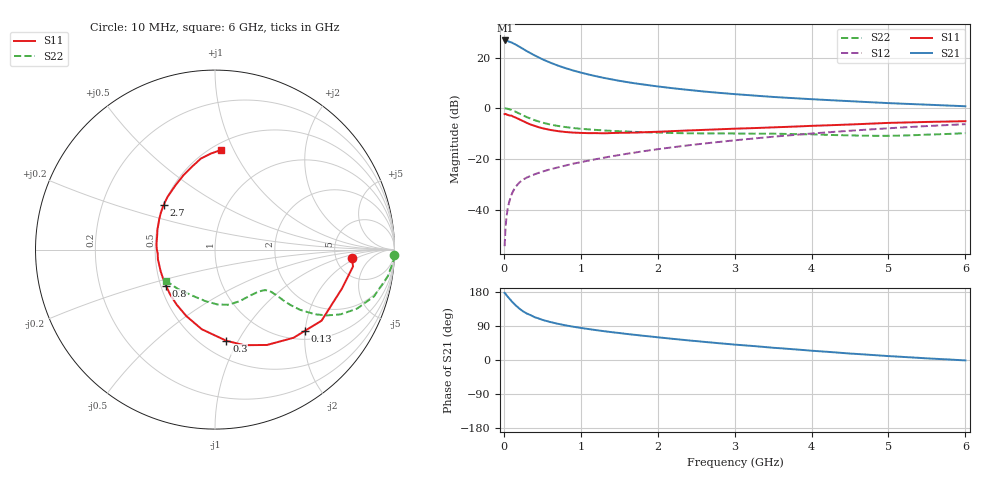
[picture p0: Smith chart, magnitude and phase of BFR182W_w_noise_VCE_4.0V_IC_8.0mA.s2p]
! Infineon Technologies  Discrete & RF Semiconductors
! BFR182W
! VCE =  4.0 V,  IC =  8.0 mA
! Common Emitter S-Parameters:  Jan 2017
# GHz  S  MA  R  50
!  f  S11  S21  S12  S22
! GHz  MAG  ANG  MAG  ANG  MAG  ANG  MAG  ANG
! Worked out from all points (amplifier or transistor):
!   77 points, 10 MHz to 6 GHz, reference 50 ohm
!   highest |S21| = 26.7 dB at 20 MHz (marker M1)
!   |S21| within 3 dB of that: start of sweep to 231.8 MHz
!   unconditionally stable (mu >= 1): 1.171 GHz to 2.727 GHz
!   at 130 MHz: K = 0.24, MSG = 28.8 dB, |S12| = -32.2 dB
!   at 2.2 GHz: K = 1.03, MAG = 10.5 dB, |S12| = -15.4 dB
!   at 6 GHz: K = 0.86, MSG = 3.5 dB, |S12| = -6.3 dB
!   lowest NFmin = 1.00 dB at 450 MHz
!   S11 on the Smith chart (normalised r, x): 10 MHz: 7.14, -1.66; 130 MHz: 1.20, -1.99; 300 MHz: 0.65, -0.89; 800 MHz: 0.53, -0.24; 2.7 GHz: 0.50, +0.29; 6 GHz: 0.56, +0.89
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0.01  0.7657 -3.6  21.55 177.2  0.0019 86.3  0.9972 -1.7
0.02  0.7746 -7.0  21.7 174.9  0.0038 87.1  0.9957 -3.6
0.05  0.7394 -17.2  21.1 167.2  0.0104 83.2  0.9745 -8.7
0.1  0.7137 -33.7  19.83 155.3  0.0198 75.9  0.9234 -16.4
0.13  0.6748 -42.2  18.74 149.2  0.0246 70.7  0.8814 -20.1
0.15  0.6579 -48.3  18.15 144.8  0.0278 68.3  0.8555 -22.7
0.2  0.6051 -61.4  16.41 136.0  0.034 65.1  0.7868 -27.3
0.25  0.557 -73.0  14.8 128.4  0.0391 61.5  0.7226 -30.5
0.3  0.5118 -82.9  13.31 122.5  0.043 58.8  0.6657 -32.8
0.4  0.4496 -99.5  11.01 113.0  0.0497 57.2  0.5806 -35.3
0.5  0.4031 -113.4  9.25 106.0  0.0561 57.4  0.5206 -36.3
0.6  0.3737 -124.9  7.965 100.4  0.0622 57.8  0.4778 -36.6
0.7  0.3537 -134.9  6.959 95.7  0.0678 58.8  0.4477 -36.6
0.8  0.3394 -143.5  6.188 91.5  0.0739 60.2  0.4248 -36.6
1.1  0.3223 -164.7  4.631 81.7  0.0926 61.6  0.3823 -37.3
1.5  0.327 175.4  3.478 71.2  0.1192 63.4  0.3515 -40.3
2.1  0.3481 154.4  2.581 57.9  0.1626 62.7  0.327 -49.2
2.7  0.3786 139.0  2.071 46.1  0.2084 60.5  0.3181 -61.2
3.1  0.3988 130.0  1.849 39.1  0.2406 58.2  0.316 -69.2
4.1  0.4541 111.7  1.479 23.1  0.325 50.9  0.3018 -90.1
5.1  0.5177 97.4  1.243 9.2  0.4104 41.9  0.2873 -120.5
6  0.5555 86.6  1.093 -1.1  0.4845 32.8  0.3225 -147.1
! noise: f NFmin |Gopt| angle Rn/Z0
0.45  1  0.12  39  0.15
0.9  1.08  0.12  69  0.15
1.9  1.59  0.18  -174  0.13
2.4  1.85  0.18  -169  0.19
